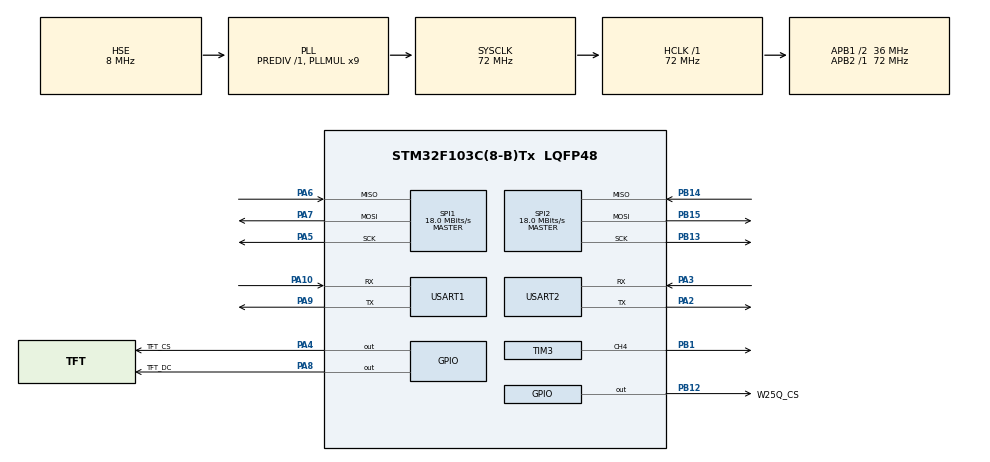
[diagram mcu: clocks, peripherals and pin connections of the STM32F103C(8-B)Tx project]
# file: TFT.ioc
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Dma.Request0=USART2_RX
Dma.Request1=USART2_TX
Dma.Request2=USART1_RX
Dma.Request3=USART1_TX
Dma.Request4=SPI1_TX
Dma.SPI1_TX.4.Direction=DMA_MEMORY_TO_PERIPH
Dma.SPI1_TX.4.Instance=DMA1_Channel3
Dma.SPI1_TX.4.MemDataAlignment=DMA_MDATAALIGN_BYTE
Dma.SPI1_TX.4.MemInc=DMA_MINC_ENABLE
Dma.SPI1_TX.4.Mode=DMA_NORMAL
Dma.SPI1_TX.4.PeriphDataAlignment=DMA_PDATAALIGN_BYTE
Dma.SPI1_TX.4.PeriphInc=DMA_PINC_DISABLE
Dma.SPI1_TX.4.Priority=DMA_PRIORITY_LOW
Dma.USART1_RX.2.Direction=DMA_PERIPH_TO_MEMORY
Dma.USART1_RX.2.Instance=DMA1_Channel5
Dma.USART1_RX.2.MemDataAlignment=DMA_MDATAALIGN_BYTE
Dma.USART1_RX.2.MemInc=DMA_MINC_ENABLE
Dma.USART1_RX.2.Mode=DMA_NORMAL
Dma.USART1_RX.2.PeriphDataAlignment=DMA_PDATAALIGN_BYTE
Dma.USART1_RX.2.PeriphInc=DMA_PINC_DISABLE
Dma.USART1_RX.2.Priority=DMA_PRIORITY_LOW
Dma.USART1_TX.3.Direction=DMA_MEMORY_TO_PERIPH
Dma.USART1_TX.3.Instance=DMA1_Channel4
Dma.USART1_TX.3.MemDataAlignment=DMA_MDATAALIGN_BYTE
Dma.USART1_TX.3.MemInc=DMA_MINC_ENABLE
Dma.USART1_TX.3.Mode=DMA_NORMAL
Dma.USART1_TX.3.PeriphDataAlignment=DMA_PDATAALIGN_BYTE
Dma.USART1_TX.3.PeriphInc=DMA_PINC_DISABLE
Dma.USART1_TX.3.Priority=DMA_PRIORITY_LOW
Dma.USART2_RX.0.Direction=DMA_PERIPH_TO_MEMORY
Dma.USART2_RX.0.Instance=DMA1_Channel6
Dma.USART2_RX.0.MemDataAlignment=DMA_MDATAALIGN_BYTE
Dma.USART2_RX.0.MemInc=DMA_MINC_ENABLE
Dma.USART2_RX.0.Mode=DMA_NORMAL
Dma.USART2_RX.0.PeriphDataAlignment=DMA_PDATAALIGN_BYTE
Dma.USART2_RX.0.PeriphInc=DMA_PINC_DISABLE
Dma.USART2_RX.0.Priority=DMA_PRIORITY_LOW
Dma.USART2_TX.1.Direction=DMA_MEMORY_TO_PERIPH
Dma.USART2_TX.1.Instance=DMA1_Channel7
Dma.USART2_TX.1.MemDataAlignment=DMA_MDATAALIGN_BYTE
Dma.USART2_TX.1.MemInc=DMA_MINC_ENABLE
Dma.USART2_TX.1.Mode=DMA_NORMAL
Dma.USART2_TX.1.PeriphDataAlignment=DMA_PDATAALIGN_BYTE
Dma.USART2_TX.1.PeriphInc=DMA_PINC_DISABLE
Dma.USART2_TX.1.Priority=DMA_PRIORITY_LOW
Mcu.Family=STM32F1
Mcu.Name=STM32F103C(8-B)Tx
Mcu.Package=LQFP48
NVIC.DMA1_Channel3_IRQn=true\:0\:0\:false\:false\:true\:false\:true\:true
NVIC.DMA1_Channel4_IRQn=true\:0\:0\:false\:false\:true\:false\:true\:true
NVIC.DMA1_Channel5_IRQn=true\:0\:0\:false\:false\:true\:false\:true\:true
NVIC.DMA1_Channel6_IRQn=true\:0\:0\:false\:false\:true\:false\:true\:true
NVIC.DMA1_Channel7_IRQn=true\:0\:0\:false\:false\:true\:false\:true\:true
NVIC.PriorityGroup=NVIC_PRIORITYGROUP_4
NVIC.USART1_IRQn=true\:0\:0\:false\:false\:true\:false\:true\:true
NVIC.USART2_IRQn=true\:0\:0\:false\:false\:true\:false\:true\:true
PA10.Mode=Asynchronous
PA10.Signal=USART1_RX
PA13.Mode=Serial_Wire
PA13.Signal=SYS_JTMS-SWDIO
PA14.Mode=Serial_Wire
PA14.Signal=SYS_JTCK-SWCLK
PA2.Mode=Asynchronous
PA2.Signal=USART2_TX
PA3.Mode=Asynchronous
PA3.Signal=USART2_RX
PA4.GPIO_Label=TFT_CS
PA4.Signal=GPIO_Output
PA5.Mode=Full_Duplex_Master
PA5.Signal=SPI1_SCK
PA6.Mode=Full_Duplex_Master
PA6.Signal=SPI1_MISO
PA7.Mode=Full_Duplex_Master
PA7.Signal=SPI1_MOSI
PA8.GPIO_Label=TFT_DC
PA8.Signal=GPIO_Output
PA9.Mode=Asynchronous
PA9.Signal=USART1_TX
PB1.Signal=S_TIM3_CH4
PB12.GPIO_Label=W25Q_CS
PB12.PinState=GPIO_PIN_SET
PB12.Signal=GPIO_Output
PB13.Mode=Full_Duplex_Master
PB13.Signal=SPI2_SCK
PB14.Mode=Full_Duplex_Master
PB14.Signal=SPI2_MISO
PB15.Mode=Full_Duplex_Master
PB15.Signal=SPI2_MOSI
PD0-OSC_IN.Mode=HSE-External-Oscillator
PD0-OSC_IN.Signal=RCC_OSC_IN
PD1-OSC_OUT.Mode=HSE-External-Oscillator
PD1-OSC_OUT.Signal=RCC_OSC_OUT
ProjectManager.HeapSize=0x200
ProjectManager.StackSize=0x400
ProjectManager.TargetToolchain=MDK-ARM V5.32
RCC.AHBFreq_Value=72000000
RCC.APB1CLKDivider=RCC_HCLK_DIV2
RCC.APB1Freq_Value=36000000
RCC.APB1TimFreq_Value=72000000
RCC.APB2Freq_Value=72000000
RCC.APB2TimFreq_Value=72000000
RCC.HCLKFreq_Value=72000000
RCC.PLLMUL=RCC_PLL_MUL9
RCC.PLLSourceVirtual=RCC_PLLSOURCE_HSE
RCC.SYSCLKFreq_VALUE=72000000
RCC.SYSCLKSource=RCC_SYSCLKSOURCE_PLLCLK
RCC.USBFreq_Value=72000000
SH.S_TIM3_CH4.0=TIM3_CH4,PWM Generation4 CH4
SPI1.BaudRatePrescaler=SPI_BAUDRATEPRESCALER_4
SPI1.CalculateBaudRate=18.0 MBits/s
SPI1.Direction=SPI_DIRECTION_2LINES
SPI1.Mode=SPI_MODE_MASTER
SPI1.VirtualType=VM_MASTER
SPI2.BaudRatePrescaler=SPI_BAUDRATEPRESCALER_2
SPI2.CalculateBaudRate=18.0 MBits/s
SPI2.Direction=SPI_DIRECTION_2LINES
SPI2.Mode=SPI_MODE_MASTER
SPI2.VirtualType=VM_MASTER
TIM3.Channel-PWM\ Generation4\ CH4=TIM_CHANNEL_4
TIM3.OCFastMode_PWM-PWM\ Generation4\ CH4=TIM_OCFAST_ENABLE
TIM3.Period=1000-1
TIM3.Prescaler=72-1
TIM3.Pulse-PWM\ Generation4\ CH4=500
USART1.VirtualMode=VM_ASYNC
USART2.VirtualMode=VM_ASYNC
VP_TIM3_VS_ClockSourceINT.Mode=Internal
board=custom

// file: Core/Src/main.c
/* USER CODE BEGIN Header */
/**
  ******************************************************************************
  * @file           : main.c
  * @brief          : Main program body
  ******************************************************************************
  * @attention
  *
  * Copyright (c) 2026 STMicroelectronics.
  * All rights reserved.
  *
  * This software is licensed under terms that can be found in the LICENSE file
  * in the root directory of this software component.
  * If no LICENSE file comes with this software, it is provided AS-IS.
  *
  ******************************************************************************
  */
/* USER CODE END Header */
#include "main.h"
#include "dma.h"
#include "spi.h"
#include "tim.h"
#include "usart.h"
#include "gpio.h"

/* USER CODE BEGIN Includes */
#include "stdio.h"
#include "string.h"
#include "math.h"
#include "lcd.h"
#include "printf.h"
#include "w25qxx.h"
#include "cmd.h"
/* USER CODE END Includes */

/* USER CODE BEGIN PV */
/* USART2 调试控制台接收缓存（中断里仅拷贝，主循环再处理） */
#define CON_BUF_SIZE                16U
static uint8_t           s_con_buf[CON_BUF_SIZE];
static volatile uint16_t s_con_len   = 0U;
static volatile uint8_t  s_con_ready = 0U;
/* USER CODE END PV */

void SystemClock_Config(void);
/* USER CODE BEGIN PFP */

uint8_t buf_tx1[28];
uint8_t buf_tx2[28];
uint8_t buf_rx1[28];
uint8_t buf_rx2[28];

uint8_t spi_tx[128];
uint8_t spi_rx[128];

/* USART2 调试控制台：接收处理（中断回调上下文，仅缓存） */
static void Console_RxHandler(const uint8_t *buf, uint16_t len);

/* USART2 调试控制台：主循环轮询处理（回显 + 按键模拟语音命令） */
static void Console_Task(void);

/* 背光 PWM 亮度设置：duty 0~1000 对应 0~100% */
static void Bsp_SetBacklight(uint16_t duty);

/* USER CODE END PFP */

int main(void)
{

  /* MCU Configuration--------------------------------------------------------*/

  /* Reset of all peripherals, Initializes the Flash interface and the Systick. */
  HAL_Init();

  /* Configure the system clock */
  SystemClock_Config();

  /* Initialize all configured peripherals */
  MX_GPIO_Init();
  MX_DMA_Init();
  MX_SPI1_Init();
  MX_SPI2_Init();
  MX_USART1_UART_Init();
  MX_USART2_UART_Init();
  MX_TIM3_Init();
  /* USER CODE BEGIN 2 */
	HAL_TIM_PWM_Start(&htim3, TIM_CHANNEL_4);   /* 开启背光 PWM：PB1 = TIM3_CH4（tim.c） */
	Bsp_SetBacklight(500);                  /* 亮度 50% 起步 */

	/* 语音命令模块初始化（先于挂串口，保证解析状态干净） */
	Cmd_Init();

	/* 挂 USART 空闲中断 + DMA 接收（先挂上，避免初始化耗时期间丢数据） */
	HAL_UARTEx_ReceiveToIdle_DMA(&huart1, buf_rx1, sizeof(buf_rx1));
	HAL_UARTEx_ReceiveToIdle_DMA(&huart2, buf_rx2, sizeof(buf_rx2));

	/* TFT 初始化 + 开机画面 */
	LCD_Init();
	LCD_Clear(LCD_COLOR_BLACK);
	LCD_ShowString(88, 110, "TFT Widget Boot OK", LCD_COLOR_YELLOW, LCD_COLOR_BLACK);

	/* W25Q128 探测（不调 W25Q_Init：Flash 未接好时它会死循环卡死启动） */
	{
	    uint32_t flashId = W25Q_ReadID();

	    if (flashId == W25Q_JEDEC_ID)
	    {
	        Usart2Printf("[FLASH] W25Q128 ready, ID=0x%06lX\r\n", (unsigned long)flashId);
	    }
	    else
	    {
	        Usart2Printf("[FLASH] ID mismatch, got=0x%06lX (expect 0xEF4018)\r\n", (unsigned long)flashId);
	    }
	}

	Usart2Printf("[BOOT] system ready. USART1=ASRPRO voice, USART2=console(1~4 page, b/d brightness)\r\n");
  /* USER CODE END 2 */

  /* Infinite loop */
  while (1)
  {

    /* USER CODE BEGIN 3 */
    Cmd_Task();          /* 处理 ASRPRO 发来的语音命令（校验通过才回调） */
    Console_Task();      /* 处理 USART2 调试键盘输入（1~4 切页 / b、d 调亮度） */
  }
  /* USER CODE END 3 */
}

void SystemClock_Config(void)
{
  RCC_OscInitTypeDef RCC_OscInitStruct = {0};
  RCC_ClkInitTypeDef RCC_ClkInitStruct = {0};

  /** Initializes the RCC Oscillators according to the specified parameters
  * in the RCC_OscInitTypeDef structure.
  */
  RCC_OscInitStruct.OscillatorType = RCC_OSCILLATORTYPE_HSE;
  RCC_OscInitStruct.HSEState = RCC_HSE_ON;
  RCC_OscInitStruct.HSEPredivValue = RCC_HSE_PREDIV_DIV1;
  RCC_OscInitStruct.HSIState = RCC_HSI_ON;
  RCC_OscInitStruct.PLL.PLLState = RCC_PLL_ON;
  RCC_OscInitStruct.PLL.PLLSource = RCC_PLLSOURCE_HSE;
  RCC_OscInitStruct.PLL.PLLMUL = RCC_PLL_MUL9;
  if (HAL_RCC_OscConfig(&RCC_OscInitStruct) != HAL_OK)
  {
    Error_Handler();
  }

  /** Initializes the CPU, AHB and APB buses clocks
  */
  RCC_ClkInitStruct.ClockType = RCC_CLOCKTYPE_HCLK|RCC_CLOCKTYPE_SYSCLK
                              |RCC_CLOCKTYPE_PCLK1|RCC_CLOCKTYPE_PCLK2;
  RCC_ClkInitStruct.SYSCLKSource = RCC_SYSCLKSOURCE_PLLCLK;
  RCC_ClkInitStruct.AHBCLKDivider = RCC_SYSCLK_DIV1;
  RCC_ClkInitStruct.APB1CLKDivider = RCC_HCLK_DIV2;
  RCC_ClkInitStruct.APB2CLKDivider = RCC_HCLK_DIV1;

  if (HAL_RCC_ClockConfig(&RCC_ClkInitStruct, FLASH_LATENCY_2) != HAL_OK)
  {
    Error_Handler();
  }
}

/* USER CODE BEGIN 4 */
/**
 * @brief  串口空闲(IDLE)中断 + DMA 接收完成回调
 * @note   帧数据已在 buf_rx1/buf_rx2 中，本函数在中断上下文运行：
 *         只做“解析/缓存 + 重新挂 DMA”，耗时操作交给主循环任务。
 */
void HAL_UARTEx_RxEventCallback(UART_HandleTypeDef *huart, uint16_t Size)
{
    if (huart->Instance == USART1)
    {
        /* ASRPRO 语音命令：交给 cmd 模块校验缓存（含重新挂接收） */
        if (Size > 0U)
        {
            Cmd_RxHandler(buf_rx1, Size);
        }
        HAL_UARTEx_ReceiveToIdle_DMA(&huart1, buf_rx1, sizeof(buf_rx1));
    }
    else if (huart->Instance == USART2)
    {
        /* 调试控制台：仅拷贝缓存，主循环 Console_Task() 统一处理 */
        if (Size > 0U)
        {
            Console_RxHandler(buf_rx2, Size);
        }
        HAL_UARTEx_ReceiveToIdle_DMA(&huart2, buf_rx2, sizeof(buf_rx2));
    }
}

/**
 * @brief  串口错误回调（ORE 溢出等）
 * @note   错误后 DMA 接收会停止，这里统一重新挂上，保证接收不中断。
 */
void HAL_UART_ErrorCallback(UART_HandleTypeDef *huart)
{
    if (huart->Instance == USART1)
    {
        HAL_UARTEx_ReceiveToIdle_DMA(&huart1, buf_rx1, sizeof(buf_rx1));
    }
    else if (huart->Instance == USART2)
    {
        HAL_UARTEx_ReceiveToIdle_DMA(&huart2, buf_rx2, sizeof(buf_rx2));
    }
}

/**
 * @brief  背光 PWM 亮度设置
 * @param  duty : 0 ~ 1000，对应 0% ~ 100%（TIM3 计数周期 = 1000，见 tim.c）
 * @retval 无
 */
static void Bsp_SetBacklight(uint16_t duty)
{
    if (duty > 1000U)
    {
        duty = 1000U;
    }
    __HAL_TIM_SET_COMPARE(&htim3, TIM_CHANNEL_4, duty);
}

/**
 * @brief  USART2 调试控制台接收处理（中断上下文，仅拷贝缓存）
 * @param  buf : 收到的数据
 * @param  len : 数据长度
 * @retval 无
 */
static void Console_RxHandler(const uint8_t *buf, uint16_t len)
{
    uint16_t n = (len > CON_BUF_SIZE) ? CON_BUF_SIZE : len;

    if (n > 0U)
    {
        memcpy(s_con_buf, buf, n);
        s_con_len   = n;
        s_con_ready = 1U;
    }
}

/**
 * @brief  USART2 调试控制台任务（主循环轮询）
 * @note   在 ASRPRO 语音模块还没接上时，用电脑串口助手连 USART2，
 *         敲 1~4 模拟切页、b/d 调背光，即可验证整条命令链路。
 * @retval 无
 */
static void Console_Task(void)
{
    uint8_t  ch    = 0U;
    uint16_t i     = 0U;

    if (s_con_ready == 0U)
    {
        return;
    }
    s_con_ready = 0U;

    for (i = 0U; i < s_con_len; i++)
    {
        ch = s_con_buf[i];

        /* 回显：方便在串口助手里看到敲了什么 */
        HAL_UART_Transmit(&huart2, &ch, 1U, 10U);

        switch (ch)
        {
        case '1':
            Cmd_OnCommand(CMD_PAGE_CLOCK, NULL, 0U);
            break;
        case '2':
            Cmd_OnCommand(CMD_PAGE_WEATHER, NULL, 0U);
            break;
        case '3':
            Cmd_OnCommand(CMD_PAGE_MOOD, NULL, 0U);
            break;
        case '4':
            Cmd_OnCommand(CMD_PAGE_SETTINGS, NULL, 0U);
            break;
        case 'b':   /* 背光 100% */
            Bsp_SetBacklight(1000U);
            Usart2Printf("[CON] backlight 100%%\r\n");
            break;
        case 'd':   /* 背光 10% */
            Bsp_SetBacklight(100U);
            Usart2Printf("[CON] backlight 10%%\r\n");
            break;
        default:
            break;
        }
    }
}

/**
 * @brief  应用层语音命令处理（覆盖 cmd.c 里的弱定义）
 * @note   ASRPRO 语音命令和 USART2 键盘模拟最终都汇聚到这里，
 *         后续 GUI 页面做好后，把 LCD 演示代码换成切页调用即可。
 */
void Cmd_OnCommand(uint8_t cmd, const uint8_t *data, uint8_t len)
{
    switch (cmd)
    {
    case CMD_PAGE_CLOCK:
        LCD_Clear(LCD_COLOR_BLACK);
        LCD_ShowString(116, 110, "CLOCK PAGE", LCD_COLOR_YELLOW, LCD_COLOR_BLACK);
        Usart2Printf("[CMD] page -> clock\r\n");
        break;

    case CMD_PAGE_WEATHER:
        LCD_Clear(LCD_COLOR_BLACK);
        LCD_ShowString(108, 110, "WEATHER PAGE", LCD_COLOR_CYAN, LCD_COLOR_BLACK);
        Usart2Printf("[CMD] page -> weather\r\n");
        break;

    case CMD_PAGE_MOOD:
        LCD_Clear(LCD_COLOR_BLACK);
        LCD_ShowString(116, 110, "MOOD PAGE", LCD_COLOR_MAGENTA, LCD_COLOR_BLACK);
        Usart2Printf("[CMD] page -> mood\r\n");
        break;

    case CMD_PAGE_SETTINGS:
        LCD_Clear(LCD_COLOR_BLACK);
        LCD_ShowString(100, 110, "SETTINGS PAGE", LCD_COLOR_GREEN, LCD_COLOR_BLACK);
        Usart2Printf("[CMD] page -> settings\r\n");
        break;

    case CMD_BACKLIGHT:
        if (len >= 1U)
        {
            /* data[0]: 0~100 百分比 -> 0~1000 计数值 */
            Bsp_SetBacklight((uint16_t)data[0] * 10U);
            Usart2Printf("[CMD] backlight -> %u%%\r\n", (unsigned)data[0]);
        }
        break;

    case CMD_PING:
        /* 联调握手：收到 PING 回 ACK（DATA = 0x55） */
        {
            uint8_t ack = 0x55U;

            Cmd_Send(CMD_PING_ACK, &ack, 1U);
            Usart2Printf("[CMD] ping -> ack\r\n");
        }
        break;

    default:
        Usart2Printf("[CMD] unknown cmd=0x%02X\r\n", cmd);
        break;
    }
}

/* USER CODE END 4 */

void Error_Handler(void)
{
  __disable_irq();
  while (1)
  {
  }
}
